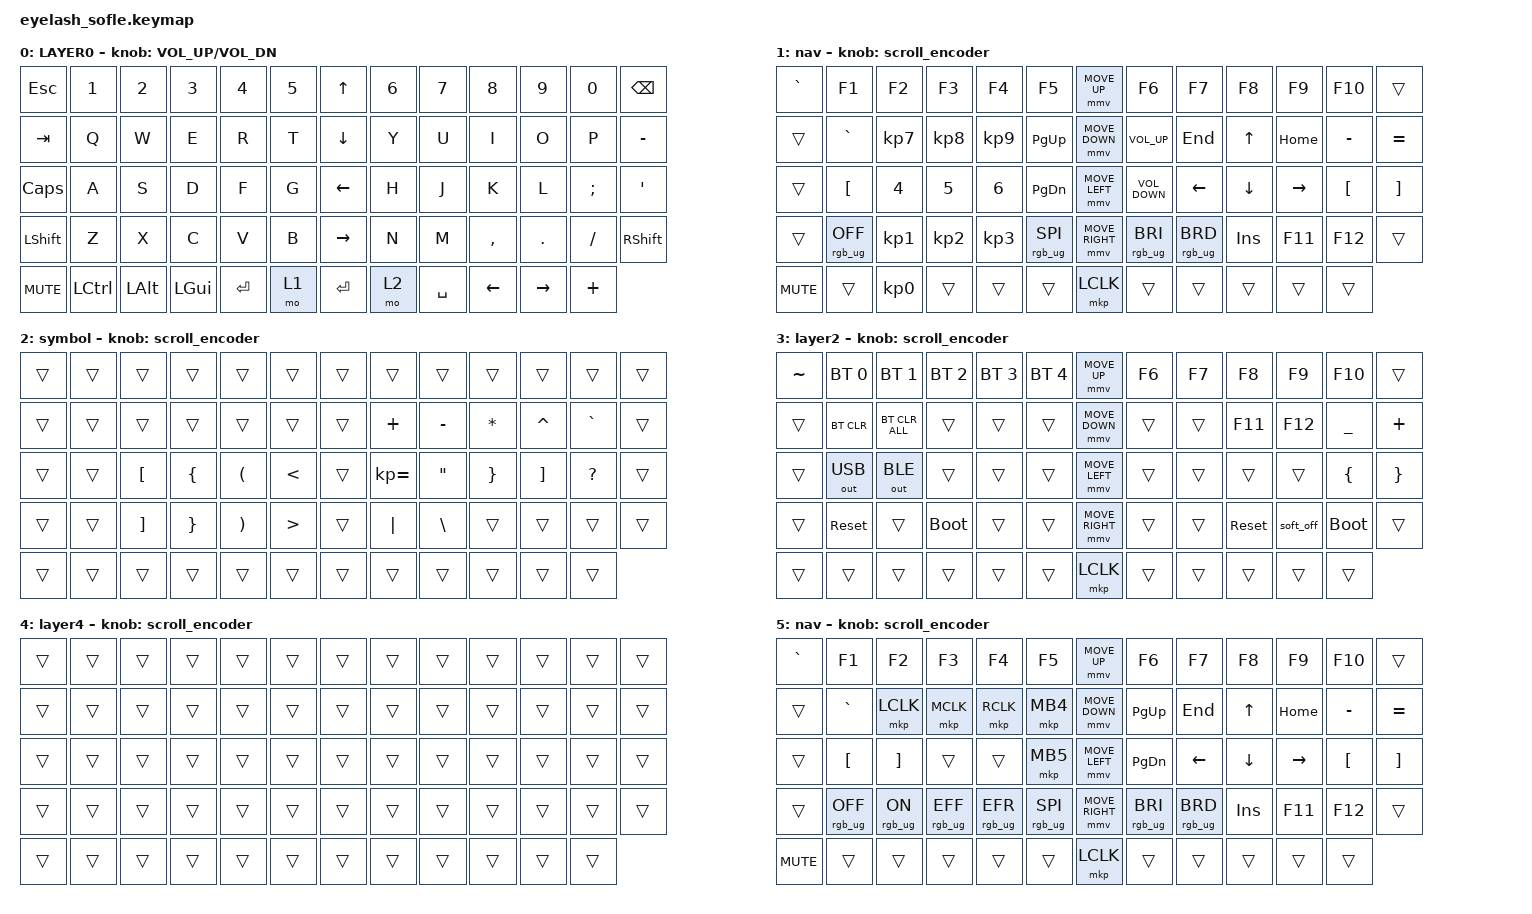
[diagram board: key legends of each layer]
#define ZMK_POINTING_DEFAULT_MOVE_VAL 1200  // 600
#define ZMK_POINTING_DEFAULT_SCRL_VAL 25   // 10

#include <input/processors.dtsi>
#include <zephyr/dt-bindings/input/input-event-codes.h>
#include <behaviors.dtsi>
#include <dt-bindings/zmk/bt.h>
#include <dt-bindings/zmk/keys.h>
#include <dt-bindings/zmk/outputs.h>
#include <dt-bindings/zmk/pointing.h>
#include <dt-bindings/zmk/rgb.h>

&mmv_input_listener { input-processors = <&zip_xy_scaler 2 1>; };

&msc_input_listener { input-processors = <&zip_scroll_scaler 2 1>; };

&msc {
    acceleration-exponent = <1>;      // 0
    time-to-max-speed-ms = <100>;       // 300
    delay-ms = <0>;                   // 0
};

&mmv {
    time-to-max-speed-ms = <500>;
    acceleration-exponent = <1>;
    trigger-period-ms = <16>;
};

&soft_off { hold-time-ms = <2000>; };

/ {
    scroll_encoder: scroll_encoder {
        compatible = "zmk,behavior-sensor-rotate";
        #sensor-binding-cells = <0>;
        bindings = <&msc SCRL_DOWN>, <&msc SCRL_UP>;

        tap-ms = <100>;
    };

    behaviors {
    };

    combos {
        compatible = "zmk,combos";

        softoff {
            bindings = <&soft_off>;
            key-positions = <14 28 40>;
        };
    };

    keymap {
        compatible = "zmk,keymap";

        layer0 {
            bindings = <
&kp ESCAPE    &kp N1            &kp N2    &kp N3        &kp N4      &kp N5    &kp UP_ARROW     &kp N6  &kp N7     &kp N8          &kp N9     &kp N0    &kp BACKSPACE
&kp TAB       &kp Q             &kp W     &kp E         &kp R       &kp T     &kp DOWN_ARROW   &kp Y   &kp U      &kp I           &kp O      &kp P     &kp MINUS
&kp CAPSLOCK  &kp A             &kp S     &kp D         &kp F       &kp G     &kp LEFT_ARROW   &kp H   &kp J      &kp K           &kp L      &kp SEMI  &kp APOS
&kp LSHFT     &kp Z             &kp X     &kp C         &kp V       &kp B     &kp RIGHT_ARROW  &kp N   &kp M      &kp COMMA       &kp DOT    &kp FSLH  &kp RIGHT_SHIFT
&kp C_MUTE    &kp LEFT_CONTROL  &kp LALT  &kp LEFT_GUI  &kp RETURN  &mo 1     &kp ENTER        &mo 2   &kp SPACE  &kp LEFT_ARROW  &kp RIGHT  &kp PLUS
            >;

            sensor-bindings = <&inc_dec_kp C_VOLUME_UP C_VOL_DN>;
            display-name = "LAYER0";
        };

        layer_1 {
            bindings = <
&kp GRAVE   &kp F1            &kp F2           &kp F3           &kp F4           &kp F5             &mmv MOVE_UP     &kp F6             &kp F7           &kp F8      &kp F9     &kp F10           &trans
&trans      &kp GRAVE         &kp KP_NUMBER_7  &kp KP_NUMBER_8  &kp KP_NUMBER_9  &kp PAGE_UP        &mmv MOVE_DOWN   &kp C_VOLUME_UP    &kp END          &kp UP      &kp HOME   &kp MINUS         &kp EQUAL
&trans      &kp LEFT_BRACKET  &kp NUMBER_4     &kp N5           &kp NUMBER_6     &kp PAGE_DOWN      &mmv MOVE_LEFT   &kp C_VOLUME_DOWN  &kp LEFT         &kp DOWN    &kp RIGHT  &kp LEFT_BRACKET  &kp RIGHT_BRACKET
&trans      &rgb_ug RGB_OFF   &kp KP_NUMBER_1  &kp KP_NUMBER_2  &kp KP_NUMBER_3  &rgb_ug RGB_SPI    &mmv MOVE_RIGHT  &rgb_ug RGB_BRI    &rgb_ug RGB_BRD  &kp INSERT  &kp F11    &kp F12           &trans
&kp C_MUTE  &trans            &kp KP_NUMBER_0  &trans           &trans           &trans             &mkp LCLK        &trans             &trans           &trans      &trans     &trans
            >;

            display-name = "nav";
            sensor-bindings = <&scroll_encoder>;
        };

        layer_3 {
            bindings = <
&trans  &trans  &trans             &trans           &trans                 &trans              &trans  &trans        &trans             &trans           &trans             &trans     &trans
&trans  &trans  &trans             &trans           &trans                 &trans              &trans  &kp PLUS      &kp MINUS          &kp ASTERISK     &kp CARET          &kp GRAVE  &trans
&trans  &trans  &kp LEFT_BRACKET   &kp LEFT_BRACE   &kp LEFT_PARENTHESIS   &kp LESS_THAN       &trans  &kp KP_EQUAL  &kp DOUBLE_QUOTES  &kp RIGHT_BRACE  &kp RIGHT_BRACKET  &kp QMARK  &trans
&trans  &trans  &kp RIGHT_BRACKET  &kp RIGHT_BRACE  &kp RIGHT_PARENTHESIS  &kp GREATER_THAN    &trans  &kp PIPE      &kp BACKSLASH      &trans           &trans             &trans     &trans
&trans  &trans  &trans             &trans           &trans                 &trans              &trans  &trans        &trans             &trans           &trans             &trans
            >;

            display-name = "symbol";
            sensor-bindings = <&scroll_encoder>;
        };

        layer_6 {
            display-name = "layer2";
            bindings = <
&kp TILDE  &bt BT_SEL 0  &bt BT_SEL 1    &bt BT_SEL 2  &bt BT_SEL 3  &bt BT_SEL 4    &mmv MOVE_UP     &kp F6  &kp F7  &kp F8      &kp F9     &kp F10      &trans
&trans     &bt BT_CLR    &bt BT_CLR_ALL  &trans        &trans        &trans          &mmv MOVE_DOWN   &trans  &trans  &kp F11     &kp F12    &kp UNDER    &kp PLUS
&trans     &out OUT_USB  &out OUT_BLE    &trans        &trans        &trans          &mmv MOVE_LEFT   &trans  &trans  &trans      &trans     &kp LBRC     &kp RBRC
&trans     &sys_reset    &trans          &bootloader   &trans        &trans          &mmv MOVE_RIGHT  &trans  &trans  &sys_reset  &soft_off  &bootloader  &trans
&trans     &trans        &trans          &trans        &trans        &trans          &mkp LCLK        &trans  &trans  &trans      &trans     &trans
            >;

            sensor-bindings = <&scroll_encoder>;
        };

        layer_4 {
            bindings = <
&trans  &trans  &trans  &trans  &trans  &trans    &trans  &trans  &trans  &trans  &trans  &trans  &trans
&trans  &trans  &trans  &trans  &trans  &trans    &trans  &trans  &trans  &trans  &trans  &trans  &trans
&trans  &trans  &trans  &trans  &trans  &trans    &trans  &trans  &trans  &trans  &trans  &trans  &trans
&trans  &trans  &trans  &trans  &trans  &trans    &trans  &trans  &trans  &trans  &trans  &trans  &trans
&trans  &trans  &trans  &trans  &trans  &trans    &trans  &trans  &trans  &trans  &trans  &trans
            >;

            display-name = "layer4";
            sensor-bindings = <&scroll_encoder>;
        };

        layer_5 {
            display-name = "nav";
            bindings = <
&kp GRAVE   &kp F1            &kp F2             &kp F3           &kp F4           &kp F5             &mmv MOVE_UP     &kp F6           &kp F7           &kp F8      &kp F9     &kp F10           &trans
&trans      &kp GRAVE         &mkp LCLK          &mkp MCLK        &mkp RCLK        &mkp MB4           &mmv MOVE_DOWN   &kp PG_UP        &kp END          &kp UP      &kp HOME   &kp MINUS         &kp EQUAL
&trans      &kp LEFT_BRACKET  &kp RIGHT_BRACKET  &trans           &trans           &mkp MB5           &mmv MOVE_LEFT   &kp PG_DN        &kp LEFT         &kp DOWN    &kp RIGHT  &kp LEFT_BRACKET  &kp RIGHT_BRACKET
&trans      &rgb_ug RGB_OFF   &rgb_ug RGB_ON     &rgb_ug RGB_EFF  &rgb_ug RGB_EFR  &rgb_ug RGB_SPI    &mmv MOVE_RIGHT  &rgb_ug RGB_BRI  &rgb_ug RGB_BRD  &kp INSERT  &kp F11    &kp F12           &trans
&kp C_MUTE  &trans            &trans             &trans           &trans           &trans             &mkp LCLK        &trans           &trans           &trans      &trans     &trans
            >;

            sensor-bindings = <&scroll_encoder>;
        };
    };
};
